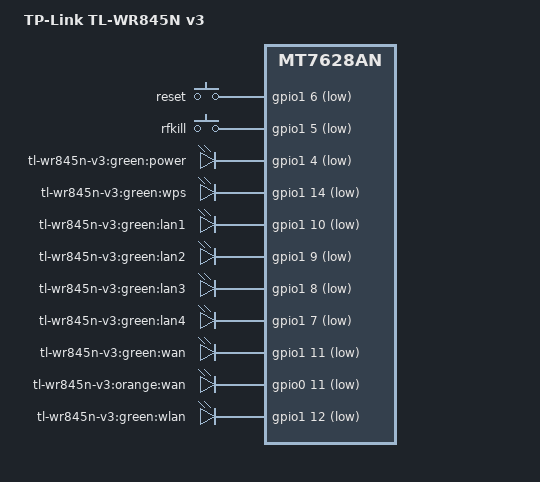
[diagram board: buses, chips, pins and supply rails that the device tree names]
/dts-v1/;

#include "TL-WR84XN.dtsi"

#include <dt-bindings/gpio/gpio.h>
#include <dt-bindings/input/input.h>

/ {
	compatible = "tplink,tl-wr845n-v3", "mediatek,mt7628an-soc";
	model = "TP-Link TL-WR845N v3";

	gpio-keys-polled {
		compatible = "gpio-keys-polled";
		#address-cells = <1>;
		#size-cells = <0>;
		poll-interval = <20>;

		reset {
			label = "reset";
			gpios = <&gpio1 6 GPIO_ACTIVE_LOW>;
			linux,code = <KEY_RESTART>;
		};

		rfkill {
			label = "rfkill";
			gpios = <&gpio1 5 GPIO_ACTIVE_LOW>;
			linux,code = <KEY_RFKILL>;
		};
	};

	gpio-leds {
		compatible = "gpio-leds";

		power {
			label = "tl-wr845n-v3:green:power";
			gpios = <&gpio1 4 GPIO_ACTIVE_LOW>;
		};

		wps {
			label = "tl-wr845n-v3:green:wps";
			gpios = <&gpio1 14 GPIO_ACTIVE_LOW>;
		};

		lan1 {
			label = "tl-wr845n-v3:green:lan1";
			gpios = <&gpio1 10 GPIO_ACTIVE_LOW>;
		};

		lan2 {
			label = "tl-wr845n-v3:green:lan2";
			gpios = <&gpio1 9 GPIO_ACTIVE_LOW>;
		};

		lan3 {
			label = "tl-wr845n-v3:green:lan3";
			gpios = <&gpio1 8 GPIO_ACTIVE_LOW>;
		};

		lan4 {
			label = "tl-wr845n-v3:green:lan4";
			gpios = <&gpio1 7 GPIO_ACTIVE_LOW>;
		};

		wan_green {
			label = "tl-wr845n-v3:green:wan";
			gpios = <&gpio1 11 GPIO_ACTIVE_LOW>;
		};

		wan_orange {
			label = "tl-wr845n-v3:orange:wan";
			gpios = <&gpio0 11 GPIO_ACTIVE_LOW>;
		};

		wlan {
			label = "tl-wr845n-v3:green:wlan";
			gpios = <&gpio1 12 GPIO_ACTIVE_LOW>;
		};
	};
};

&pinctrl {
	state_default: pinctrl0 {
		gpio {
			ralink,group = "gpio", "p0led_an", "p1led_an", "p2led_an", "p3led_an", "p4led_an", "perst", "refclk", "uart1", "wdt", "wled_an";
			ralink,function = "gpio";
		};
	};
};
